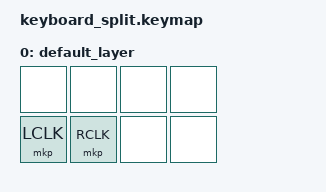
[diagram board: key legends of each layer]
#include <behaviors.dtsi>
#include <dt-bindings/zmk/keys.h>
#include <dt-bindings/zmk/bt.h>
#include <dt-bindings/zmk/pointing.h>

/* -------------------------------------------------------------------------
   TES CONFIGURATIONS DE SENSIBILITÉ (MMV et MSC)
   ------------------------------------------------------------------------- */

&mmv {
    x-input-code = <INPUT_REL_X>;
    y-input-code = <INPUT_REL_Y>;
    time-to-max-speed-ms = <300>;
    acceleration-exponent = <1>;
};

&msc {
    x-input-code = <INPUT_REL_HWHEEL>;
    y-input-code = <INPUT_REL_WHEEL>;
    time-to-max-speed-ms = <0>; 
    acceleration-exponent = <0>;
};

/* -------------------------------------------------------------------------
   DÉFINITION DU KEYMAP (Logique des touches)
   ------------------------------------------------------------------------- */

/ {
    keymap {
        compatible = "zmk,keymap";

        default_layer {
            bindings = <
                &none      &none      &none      &none
                &mkp LCLK  &mkp RCLK  &none      &none
            >;
        };
    };
};
